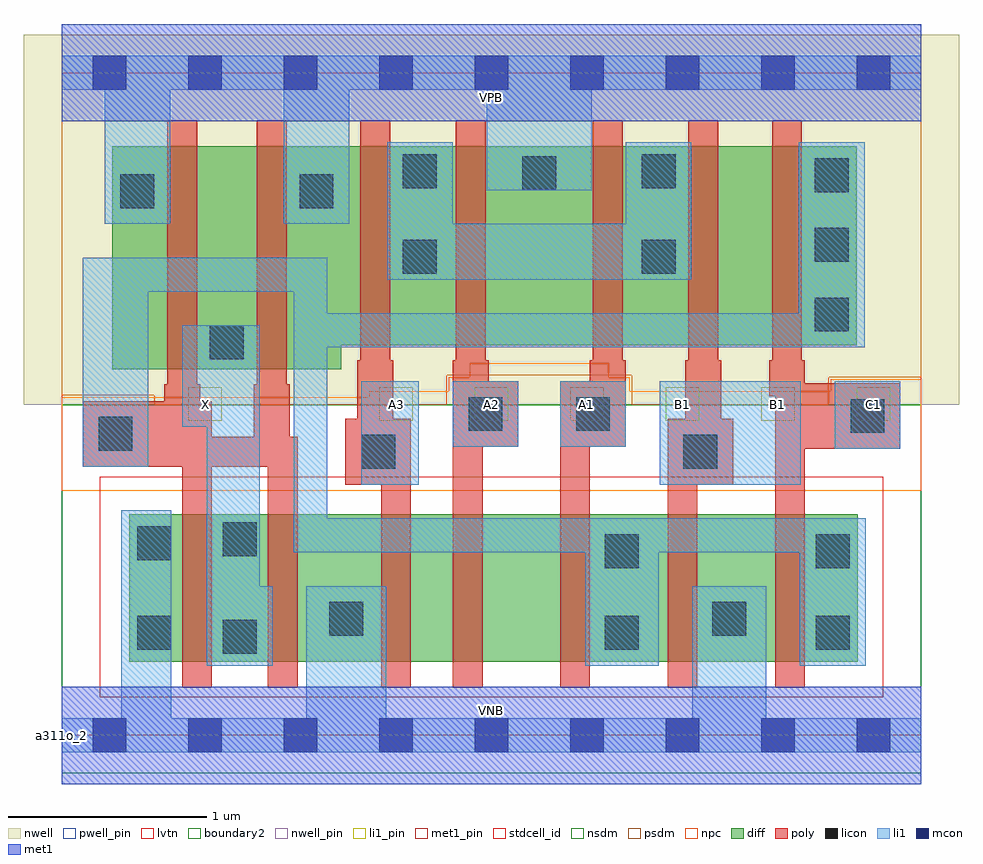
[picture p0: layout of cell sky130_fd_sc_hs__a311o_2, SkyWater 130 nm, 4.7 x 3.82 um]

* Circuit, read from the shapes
.subckt sky130_fd_sc_hs__a311o_2 A1 A2 A3 B1 C1 VGND VNB VPB VPWR X
XM1 X n1 VGND VNB sky130_fd_pr__nfet_01v8_lvt w=0.74 l=0.15 m=2
XM2 n2 A3 VGND VNB sky130_fd_pr__nfet_01v8_lvt w=0.74 l=0.15
XM3 n3 A2 n2 VNB sky130_fd_pr__nfet_01v8_lvt w=0.74 l=0.15
XM4 n1 A1 n3 VNB sky130_fd_pr__nfet_01v8_lvt w=0.74 l=0.15
XM5 VGND B1 n1 VNB sky130_fd_pr__nfet_01v8_lvt w=0.74 l=0.15
XM6 n1 C1 VGND VNB sky130_fd_pr__nfet_01v8_lvt w=0.74 l=0.15
XM7 X n1 VPWR VPB sky130_fd_pr__pfet_01v8 w=1.12 l=0.15 m=2
XM8 n4 A3 VPWR VPB sky130_fd_pr__pfet_01v8 w=1 l=0.15
XM9 VPWR A2 n4 VPB sky130_fd_pr__pfet_01v8 w=1 l=0.15
XM10 n4 A1 VPWR VPB sky130_fd_pr__pfet_01v8 w=1 l=0.15
XM11 n5 B1 n4 VPB sky130_fd_pr__pfet_01v8 w=1 l=0.15
XM12 n1 C1 n5 VPB sky130_fd_pr__pfet_01v8 w=1 l=0.15
.ends

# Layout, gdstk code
import gdstk
lib = gdstk.Library(unit=1e-6, precision=1e-09)
def R(c, l, rs):  # rectangles x0, y0, x1, y1
    for r in rs: c.add(gdstk.rectangle(r[:2], r[2:], *l))
def A(c, l, x, y, w, h, nx, ny, dx, dy):  # array of equal rectangles
    R(c, l, [(x+i*dx, y+j*dy, x+i*dx+w, y+j*dy+h) for i in range(nx) for j in range(ny)])
def P(c, l, *ps):  # polygons
    for p in ps: c.add(gdstk.Polygon(p, *l))
nwell_pin = (64, 16)
nwell = (64, 20)
diff = (65, 20)
poly = (66, 20)
licon = (66, 44)
li1_pin = (67, 16)
li1 = (67, 20)
mcon = (67, 44)
met1_pin = (68, 16)
met1 = (68, 20)
stdcell_id = (81, 4)
nsdm = (93, 44)
psdm = (94, 20)
npc = (95, 20)
pwell_pin = (122, 16)
lvtn = (125, 44)
boundary2 = (236, 0)

sky130_fd_sc_hs__a311o_2 = lib.new_cell('sky130_fd_sc_hs__a311o_2')
R(sky130_fd_sc_hs__a311o_2, nwell_pin, [(0,3.085,4.32,3.33)])
R(sky130_fd_sc_hs__a311o_2, nwell, [(-0.19,1.66,4.51,3.52)])
R(sky130_fd_sc_hs__a311o_2, diff, [(0.34,0.37,4,1.11)])
P(sky130_fd_sc_hs__a311o_2, diff, [(3.995,2.96),(0.255,2.96),(0.255,1.84),(1.405,1.84),(1.405,1.96),(3.995,1.96)])
P(sky130_fd_sc_hs__a311o_2, poly, [(4.215,1.77),(3.735,1.77),(3.735,1.885),(3.72,1.885),(3.72,3.09),(3.57,3.09),(3.57,1.885),(3.555,1.885),(3.555,1.705),(3.585,1.705),(3.585,0.24),(3.735,0.24),(3.735,1.44),(4.215,1.44)],
  [(3.375,1.59),(3.315,1.59),(3.315,1.885),(3.3,1.885),(3.3,3.09),(3.15,3.09),(3.15,1.885),(3.135,1.885),(3.135,1.59),(3.045,1.59),(3.045,0.24),(3.195,0.24),(3.195,1.26),(3.375,1.26)],
  [(2.835,1.885),(2.82,1.885),(2.82,3.09),(2.67,3.09),(2.67,1.885),(2.655,1.885),(2.655,1.78),(2.505,1.78),(2.505,0.24),(2.655,0.24),(2.655,1.45),(2.835,1.45)],
  [(2.295,1.78),(2.145,1.78),(2.145,1.885),(2.13,1.885),(2.13,3.09),(1.98,3.09),(1.98,1.885),(1.965,1.885),(1.965,0.24),(2.115,0.24),(2.115,1.45),(2.295,1.45)],
  [(1.755,1.59),(1.665,1.59),(1.665,1.885),(1.65,1.885),(1.65,3.09),(1.5,3.09),(1.5,1.885),(1.485,1.885),(1.485,1.59),(1.425,1.59),(1.425,1.26),(1.605,1.26),(1.605,0.24),(1.755,0.24)],
  [(1.185,1.5),(1.145,1.5),(1.145,1.765),(1.13,1.765),(1.13,3.09),(0.98,3.09),(0.98,1.765),(0.965,1.765),(0.965,1.5),(0.755,1.5),(0.755,1.68),(0.695,1.68),(0.695,1.765),(0.68,1.765),(0.68,3.09),(0.53,3.09),(0.53,1.765),(0.515,1.765),(0.515,1.68),(0.105,1.68),(0.105,1.35),(0.605,1.35),(0.605,0.24),(0.755,0.24),(0.755,1.35),(1.035,1.35),(1.035,0.24),(1.185,0.24)])
A(sky130_fd_sc_hs__a311o_2, licon, 3.785, 2.03, 0.17, 0.17, 1, 3, 0, 0.35)
R(sky130_fd_sc_hs__a311o_2, licon, [(0.81,0.41,0.98,0.58), (0.38,0.43,0.55,0.6), (2.73,0.43,2.9,0.6), (3.79,0.43,3.96,0.6), (1.345,0.5,1.515,0.67), (3.27,0.5,3.44,0.67), (2.73,0.84,2.9,1.01), (3.79,0.84,3.96,1.01), (0.38,0.88,0.55,1.05), (0.81,0.9,0.98,1.07), (1.505,1.34,1.675,1.51), (3.125,1.34,3.295,1.51), (0.185,1.43,0.355,1.6), (3.965,1.52,4.135,1.69), (2.045,1.53,2.215,1.7), (2.585,1.53,2.755,1.7), (0.745,1.89,0.915,2.06), (1.715,2.32,1.885,2.49), (2.915,2.32,3.085,2.49), (0.295,2.65,0.465,2.82), (1.195,2.65,1.365,2.82), (2.315,2.74,2.485,2.91), (1.715,2.75,1.885,2.92), (2.915,2.75,3.085,2.92)])
A(sky130_fd_sc_hs__a311o_2, li1_pin, 1.595, 1.58, 0.17, 0.17, 6, 1, 0.48, 0)
R(sky130_fd_sc_hs__a311o_2, li1_pin, [(0.635,1.58,0.805,1.75)])
R(sky130_fd_sc_hs__a311o_2, li1, [(1.505,1.26,1.795,1.78), (3.005,1.26,3.715,1.78), (3.885,1.44,4.215,1.78), (1.965,1.45,2.295,1.78), (2.505,1.45,2.835,1.78)])
P(sky130_fd_sc_hs__a311o_2, li1, [(0.215,2.57),(0.215,3.245),(0,3.245),(0,3.415),(4.32,3.415),(4.32,3.245),(2.665,3.245),(2.665,2.74),(2.135,2.74),(2.135,3.245),(1.445,3.245),(1.445,2.57),(1.115,2.57),(1.115,3.245),(0.545,3.245),(0.545,2.57)],
  [(3.17,0.085),(3.17,0.75),(3.54,0.75),(3.54,0.085),(4.32,0.085),(4.32,-0.085),(0,-0.085),(0,0.085),(0.3,0.085),(0.3,1.13),(0.55,1.13),(0.55,0.085),(1.23,0.085),(1.23,0.75),(1.63,0.75),(1.63,0.085)],
  [(0.105,2.4),(1.335,2.4),(1.335,2.12),(3.705,2.12),(3.705,2.98),(4.035,2.98),(4.035,1.95),(1.335,1.95),(1.335,1.09),(4.04,1.09),(4.04,0.35),(3.71,0.35),(3.71,0.92),(3,0.92),(3,0.35),(2.63,0.35),(2.63,0.92),(1.165,0.92),(1.165,2.23),(0.435,2.23),(0.435,1.35),(0.105,1.35)],
  [(2.835,2.57),(2.835,2.98),(3.165,2.98),(3.165,2.29),(1.635,2.29),(1.635,2.98),(1.965,2.98),(1.965,2.57)],
  [(0.995,0.75),(1.06,0.75),(1.06,0.35),(0.73,0.35),(0.73,1.55),(0.605,1.55),(0.605,2.06),(0.995,2.06)])
A(sky130_fd_sc_hs__a311o_2, mcon, 0.155, -0.085, 0.17, 0.17, 9, 2, 0.48, 3.33)
R(sky130_fd_sc_hs__a311o_2, met1_pin, [(0,0,4.32,0.245), (0,3.085,4.32,3.33)])
R(sky130_fd_sc_hs__a311o_2, met1, [(0,-0.245,4.32,0.245), (0,3.085,4.32,3.575)])
R(sky130_fd_sc_hs__a311o_2, stdcell_id, [(0,0,4.32,3.33)])
R(sky130_fd_sc_hs__a311o_2, nsdm, [(0,-0.19,4.32,1.66)])
P(sky130_fd_sc_hs__a311o_2, psdm, [(4.32,3.52),(0,3.52),(0,1.71),(0.465,1.71),(0.465,1.66),(1.935,1.66),(1.935,1.81),(2.865,1.81),(2.865,1.66),(3.855,1.66),(3.855,1.8),(4.32,1.8)])
P(sky130_fd_sc_hs__a311o_2, npc, [(4.32,1.79),(3.865,1.79),(3.865,1.73),(2.855,1.73),(2.855,1.8),(2.75,1.8),(2.75,1.87),(2.05,1.87),(2.05,1.8),(1.945,1.8),(1.945,1.73),(1.545,1.73),(1.545,1.7),(0,1.7),(0,1.23),(4.32,1.23)])
R(sky130_fd_sc_hs__a311o_2, pwell_pin, [(0,0,4.32,0.245)])
R(sky130_fd_sc_hs__a311o_2, lvtn, [(0.19,0.19,4.13,1.3)])
R(sky130_fd_sc_hs__a311o_2, boundary2, [(0,0,4.32,3.33)])
sky130_fd_sc_hs__a311o_2.add(gdstk.Label('a311o_2', (0,0), layer=83, texttype=44))
sky130_fd_sc_hs__a311o_2.add(gdstk.Label('VNB', (2.16,0.123), layer=64, texttype=59))
sky130_fd_sc_hs__a311o_2.add(gdstk.Label('VPB', (2.16,3.208), layer=64, texttype=5))
sky130_fd_sc_hs__a311o_2.add(gdstk.Label('VPWR', (2.16,3.208), layer=68, texttype=5))
sky130_fd_sc_hs__a311o_2.add(gdstk.Label('VGND', (2.16,0.123), layer=68, texttype=5))
sky130_fd_sc_hs__a311o_2.add(gdstk.Label('C1', (4.08,1.665), layer=67, texttype=5))
sky130_fd_sc_hs__a311o_2.add(gdstk.Label('B1', (3.12,1.665), layer=67, texttype=5))
sky130_fd_sc_hs__a311o_2.add(gdstk.Label('B1', (3.6,1.665), layer=67, texttype=5))
sky130_fd_sc_hs__a311o_2.add(gdstk.Label('A3', (1.68,1.665), layer=67, texttype=5))
sky130_fd_sc_hs__a311o_2.add(gdstk.Label('A2', (2.16,1.665), layer=67, texttype=5))
sky130_fd_sc_hs__a311o_2.add(gdstk.Label('A1', (2.64,1.665), layer=67, texttype=5))
sky130_fd_sc_hs__a311o_2.add(gdstk.Label('X', (0.72,1.665), layer=67, texttype=5))

lib.write_gds('sky130_fd_sc_hs__a311o_2.gds')
